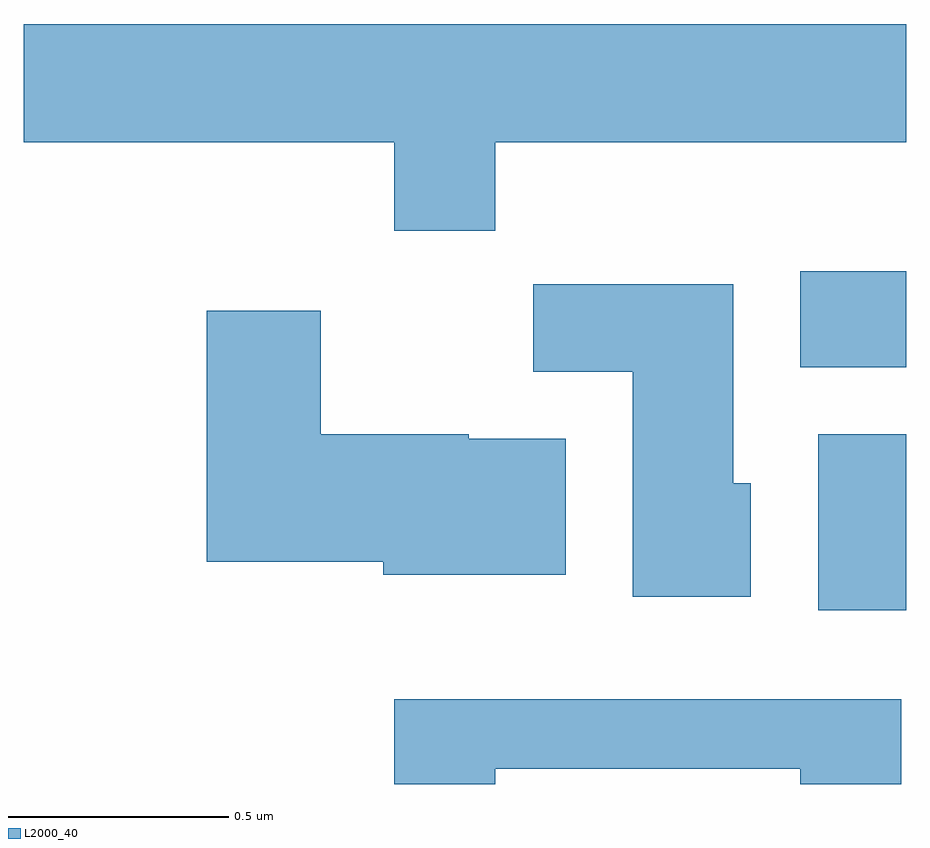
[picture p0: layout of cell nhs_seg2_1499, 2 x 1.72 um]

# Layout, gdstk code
import gdstk
lib = gdstk.Library(unit=1e-6, precision=1e-09)
def R(c, l, rs):  # rectangles x0, y0, x1, y1
    for r in rs: c.add(gdstk.rectangle(r[:2], r[2:], *l))
def P(c, l, *ps):  # polygons
    for p in ps: c.add(gdstk.Polygon(p, *l))
L2000_40 = (2000, 40)

nhs_seg2_1499 = lib.new_cell('nhs_seg2_1499')
R(nhs_seg2_1499, L2000_40, [(197.411,1107.196,197.611,1107.594), (197.371,1107.746,197.611,1107.964)])
P(nhs_seg2_1499, L2000_40, [(196.679,1108.256),(197.611,1108.256),(197.611,1108.524),(195.611,1108.524),(195.611,1108.256),(196.451,1108.256),(196.451,1108.056),(196.679,1108.056)],
  [(197.259,1107.484),(197.219,1107.484),(197.219,1107.934),(196.766,1107.934),(196.766,1107.736),(196.991,1107.736),(196.991,1107.226),(197.259,1107.226)],
  [(196.839,1107.584),(196.62,1107.584),(196.62,1107.594),(196.284,1107.594),(196.284,1107.874),(196.026,1107.874),(196.026,1107.306),(196.426,1107.306),(196.426,1107.276),(196.839,1107.276)],
  [(196.679,1106.836),(197.371,1106.836),(197.371,1106.802),(197.599,1106.802),(197.599,1106.994),(196.451,1106.994),(196.451,1106.802),(196.679,1106.802)])

lib.write_gds('nhs_seg2_1499.gds')
